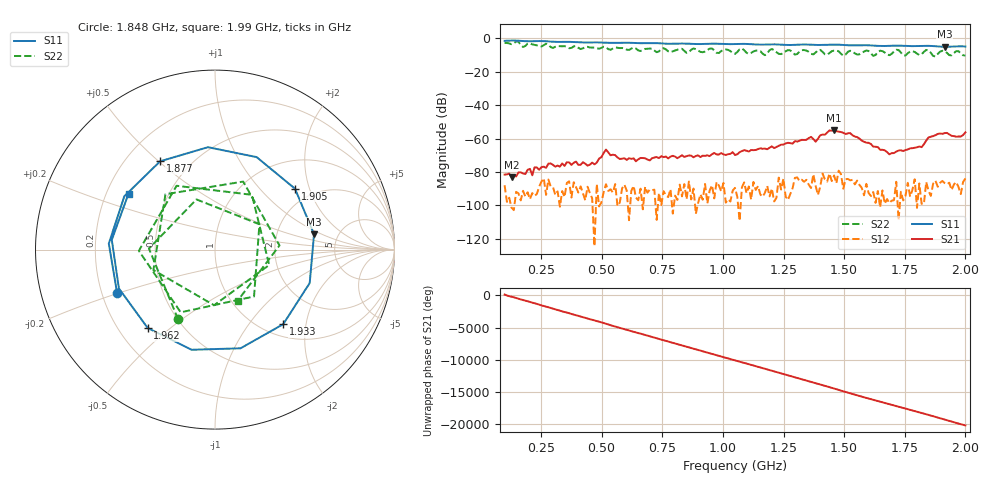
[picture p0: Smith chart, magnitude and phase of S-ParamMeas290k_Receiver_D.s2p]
!Keysight Technologies,N5242B,MY48420967,A.15.65.19
!Date: Saturday, February 04, 2023 19:18:41
!Correction: S11(C  1-Port  )
!S21(Off)
!S12(Off)
!S22(Off)
!S2P File: Measurements: S11, S21, S12, S22:
# Hz S  dB  R 50
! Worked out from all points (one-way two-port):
!   201 points, 100 MHz to 2 GHz, reference 50 ohm
!   highest |S21| = -55.02 dB at 1.458 GHz (marker M1); lowest = -83.0 dB at 128.5 MHz (marker M2)
!   lowest |S11| = -5.1 dB at 1.915 GHz (marker M3), VSWR 3.53, Z = 165 + j41.2 ohm
!   |S11| at or under -10 dB: nowhere
!   |S22| runs from -10.9 to -1.9 dB; largest |S21 - S12| = 0.0018
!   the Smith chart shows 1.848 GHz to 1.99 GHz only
!   S11 on the Smith chart (normalised r, x): 1.848 GHz: 0.26, -0.20; 1.877 GHz: 0.34, +0.51; 1.905 GHz: 1.62, +1.61; 1.933 GHz: 1.23, -1.49; 1.962 GHz: 0.32, -0.42; 1.99 GHz: 0.29, +0.27
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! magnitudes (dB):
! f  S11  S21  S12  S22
! 100 MHz  -1.5  -81.5  -87.9  -2.8
! 128.5 MHz  -1.3  -83.0  -101.3  -3.5
! 423 MHz  -2.5  -74.2  -92.7  -6.0
! 470.5 MHz  -2.4  -75.4  -124.4  -5.5
! 518 MHz  -2.6  -66.6  -87.3  -5.4
! 575 MHz  -2.6  -72.2  -98.3  -5.8
! 736.5 MHz  -3.0  -71.7  -92.5  -7.8
! 1.05 GHz  -3.4  -69.8  -89.5  -9.3
! 1.079 GHz  -3.3  -67.5  -89.1  -6.1
! 1.373 GHz  -3.9  -60.2  -81.4  -9.6
! 1.458 GHz  -3.8  -55.0  -82.1  -7.3
! 1.687 GHz  -4.4  -69.4  -98.6  -10.1
! 1.715 GHz  -4.4  -67.8  -85.9  -6.8
! 1.819 GHz  -4.5  -65.1  -99.0  -9.5
! 1.848 GHz  -4.5  -59.3  -91.3  -7.2
! 1.877 GHz  -4.7  -58.0  -85.1  -10.9
! 1.905 GHz  -5.0  -57.1  -85.3  -7.4
! 1.915 GHz  -5.1  -56.7  -86.6  -7.6
! 1.933 GHz  -5.0  -57.5  -86.4  -10.1
! 1.962 GHz  -4.8  -58.9  -86.0  -7.7
! 1.99 GHz  -4.8  -57.9  -86.0  -10.1
! 2 GHz  -4.9  -56.2  -83.9  -10.4
